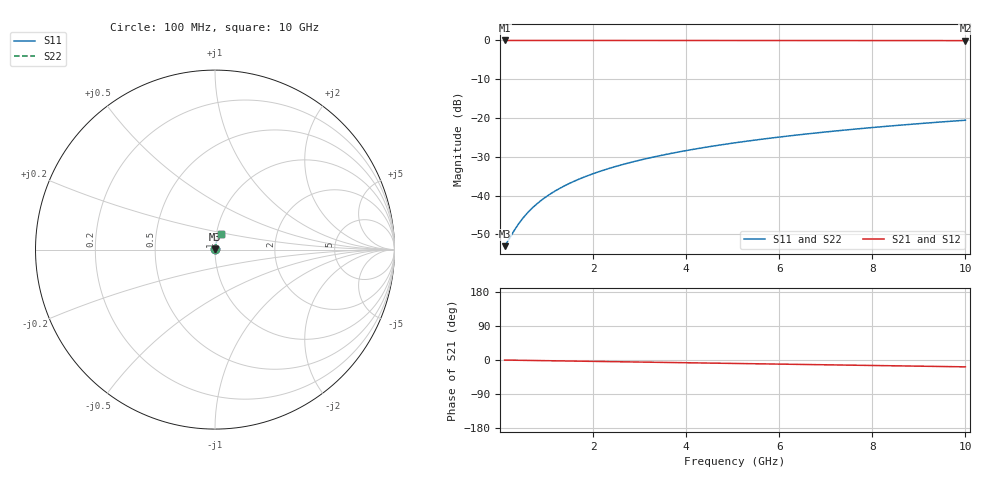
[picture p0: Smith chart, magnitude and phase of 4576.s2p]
# Hz S RI R 50.00
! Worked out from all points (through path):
!   100 points, 100 MHz to 10 GHz, reference 50 ohm
!   highest |S21| = -0.02 dB at 100 MHz (marker M1); lowest = -0.1 dB at 10 GHz (marker M2)
!   group delay of S21, straight-line fit = 5.02 ps
!   lowest |S11| = -53.0 dB at 100 MHz (marker M3), VSWR 1.00, Z = 50.2 + j0.0949 ohm
!   |S11| at or under -10 dB: start of sweep to end of sweep
!   |S22| runs from -53.0 to -20.6 dB; largest |S21 - S12| = 0
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1e8  0.00202 0.000945  0.998 -0.00314  0.998 -0.00314  0.00202 0.000945
3e8  0.00207 0.00284  0.9979 -0.00943  0.9979 -0.00943  0.00207 0.00284
4e8  0.00209 0.00378  0.9979 -0.0126  0.9979 -0.0126  0.00209 0.00378
5e8  0.00213 0.00473  0.9978 -0.0157  0.9978 -0.0157  0.00213 0.00473
6e8  0.00216 0.00567  0.9977 -0.0189  0.9977 -0.0189  0.00216 0.00567
7e8  0.00221 0.00661  0.9977 -0.022  0.9977 -0.022  0.00221 0.00661
8e8  0.00226 0.00756  0.9976 -0.0251  0.9976 -0.0251  0.00226 0.00756
1e9  0.00237 0.00944  0.9974 -0.0314  0.9974 -0.0314  0.00237 0.00944
1.2e9  0.00251 0.0113  0.9971 -0.0377  0.9971 -0.0377  0.00251 0.0113
1.5e9  0.00276 0.0142  0.9967 -0.0471  0.9967 -0.0471  0.00276 0.0142
1.8e9  0.00306 0.017  0.9961 -0.0565  0.9961 -0.0565  0.00306 0.017
2.1e9  0.00341 0.0198  0.9955 -0.0659  0.9955 -0.0659  0.00341 0.0198
2.5e9  0.00397 0.0235  0.9945 -0.0785  0.9945 -0.0785  0.00397 0.0235
2.9e9  0.00461 0.0272  0.9933 -0.091  0.9933 -0.091  0.00461 0.0272
3.4e9  0.00555 0.0319  0.9916 -0.1066  0.9916 -0.1066  0.00555 0.0319
4.2e9  0.00736 0.0392  0.9883 -0.1315  0.9883 -0.1315  0.00736 0.0392
5.1e9  0.00983 0.0473  0.9837 -0.1595  0.9837 -0.1595  0.00983 0.0473
5.9e9  0.0124 0.0544  0.979 -0.1842  0.979 -0.1842  0.0124 0.0544
6.7e9  0.0154 0.0614  0.9736 -0.2087  0.9736 -0.2087  0.0154 0.0614
7.5e9  0.0186 0.0682  0.9675 -0.2331  0.9675 -0.2331  0.0186 0.0682
8.4e9  0.0227 0.0757  0.9599 -0.2604  0.9599 -0.2604  0.0227 0.0757
1e10  0.0311 0.0883  0.9442 -0.3081  0.9442 -0.3081  0.0311 0.0883
